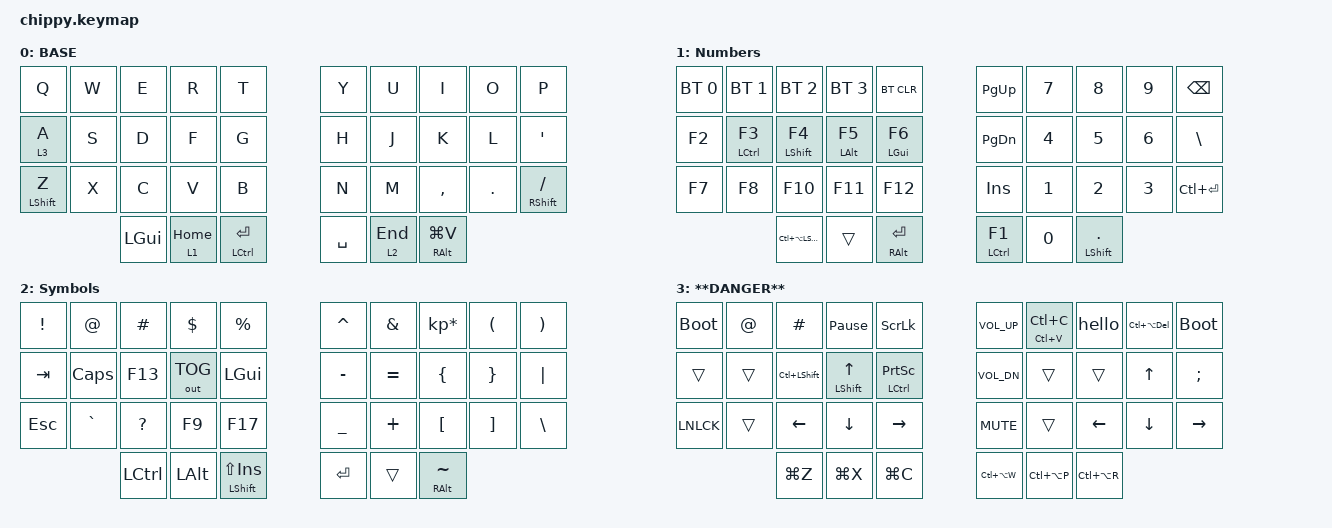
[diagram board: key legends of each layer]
/*
 * Copyright (c) 2020 The ZMK Contributors
 *
 * SPDX-License-Identifier: MIT
 */

#include <behaviors.dtsi>
#include <dt-bindings/zmk/keys.h>
#include <dt-bindings/zmk/bt.h>
#include <dt-bindings/zmk/outputs.h>

#define COMBO_TIMEOUT 60

#define DEFAULT 0
#define LOWER   1
#define RAISE   2
#define DANGER  3

/ {
    macros {
	hello: hello {
            label = "hello";
            compatible = "zmk,behavior-macro";
            #binding-cells = <0>;
            bindings
                = <&macro_tap_time 10>
		,<&macro_tap &kp H &kp E &kp L &kp L &kp O>
                ;
        };
    };
};


/ {
    combos {
        compatible = "zmk,combos";
 	 combo_del {
            timeout-ms = <COMBO_TIMEOUT>;
            key-positions = <11 12 13>;
            bindings = <&mt RALT DEL>;
        };
	 combo_cw {
            timeout-ms = <COMBO_TIMEOUT>;
            key-positions = <2 3 4>;
            bindings = <&caps_word>;
        };
	 combo_tab {
            timeout-ms = <COMBO_TIMEOUT>;
            key-positions = <10 11 12>;
            bindings = <&mt K_CONTEXT_MENU TAB>;
        };
	 combo_row {
            timeout-ms = <COMBO_TIMEOUT>;
            key-positions = <12 13 14>;
            bindings = <&kp LS(HOME)>;
        };
	 combo_esc {
            timeout-ms = <COMBO_TIMEOUT>;
            key-positions = <0 1 2>;
            bindings = <&kp ESC>;
	 };
	 combo_ctlbksp {
            timeout-ms = <COMBO_TIMEOUT>;
            key-positions = <6 7 8>;
            bindings = <&kp LC(BSPC)>;
        };
	 combo_bksp {
            timeout-ms = <COMBO_TIMEOUT>;
            key-positions = <16 17 18>;
            bindings = <&kp BSPC>;
        };
    };
};

&caps_word {
	continue-list = <UNDERSCORE MINUS BACKSPACE DELETE HOME END LEFT RIGHT>;
};

&kscan0 {
	debounce-period = <20>;
	};

/ {
	behaviors {

        bh: layer_taps 
		{
			compatible = "zmk,behavior-hold-tap";
			label = "Layer-Tap";
			#binding-cells = <2>;
			tapping_term_ms = <215>;
            flavor = "tap-preferred";
			bindings = <&mo>, <&kp>;
        };

        hm: homerow_mods {
            compatible = "zmk,behavior-hold-tap";
            label = "HOMEROW_MODS";
            #binding-cells = <2>;
            tapping-term-ms = <170>;
            quick_tap_ms = <0>;
            flavor = "tap-preferred";
            bindings = <&kp>, <&kp>;
        };
		sm: shift_mods {
            compatible = "zmk,behavior-hold-tap";
            label = "SHIFT_MODS";
            #binding-cells = <2>;
            tapping-term-ms = <170>;
            quick_tap_ms = <0>;
            flavor = "hold-preferred";
            bindings = <&kp>, <&kp>;
        };
     };
   };

/ {
        keymap {
                compatible = "zmk,keymap";

                default_layer {
// -----------------------------------------------------------------------------------------
// |  Q  |  W  |  E  |  R  |  T  |   |  Y  |  U   |  I  |  O  |  P  | 
// |  A  |  S  |  D  |  F  |  G  |   |  H  |  J   |  K  |  L  |  '  |
// |  Z  |  X  |  C  |  V  |  B  |   |  N  |  M   |  ,  |  .  |  /  | 
//             | GUI | LWR | ENT |   | SPC | RSE  | ALT |
                        bindings = <
   &kp Q &kp W &kp E &kp R &kp T   &kp Y &kp U  &kp I     &kp O   &kp P
   &bh 3 A &kp S &kp D &kp F &kp G   &kp H &kp J  &kp K &kp L   &kp SQT
   &mt LSHFT Z &kp X &kp C &kp V &kp B   &kp N &kp M  &kp COMMA &kp DOT &mt RSHFT FSLH
        &kp LGUI &bh 1 HOME &mt LCTRL RET   &kp SPACE &bh 2 END &mt RALT LG(V)
                        >;
		label = "BASE";
                };
                lower_layer {
// -----------------------------------------------------------------------------------------
// |  BT1 |     BT2    |     BT3    |    BT4    |  BT_CLR   |   |  PGUP  |  7   |    8   |  9  |  BSPC  | 
// |  F2  |  LCTRL F3  |  LSHFT F4  |  LALT F5  |  LGUI F6  |   |  PGDN  |  4   |    5   |  6  |    \   |
// |  F7  |     F8     |     F10    |    F11    |    F12    |   |  INS   |  1   |    2   |  3  |   ENT  | 
//                     |     SHFT   |           |   ALT ENT |   | CTRL F1|  0   | SHFT . |
                        bindings = <
   &bt BT_SEL 0 &bt BT_SEL 1 &bt BT_SEL 2 &bt BT_SEL 3 &bt BT_CLR     &kp PG_UP &kp N7 &kp N8 &kp N9 &kp BSPC
   &kp F2       &hm LCTRL F3  &hm LSHFT F4  &hm LALT F5  &hm LGUI F6         &kp PG_DN &kp N4 &kp N5 &kp N6 &kp BSLH
   &kp F7       &kp F8       &kp F10      &kp F11      &kp F12        &kp INS &kp N1 &kp N2 &kp N3  &kp LC(RET)
               	        &kp LC(LA(LSHFT)) &trans       &mt RALT RET      &mt LCTRL F1  &kp N0  &mt LSHFT DOT
                        >;
		label = "Numbers";
                };

                raise_layer {
// -----------------------------------------------------------------------------------------
// |   !   |   @    |   #   |   $   |     %     |   |  ^  |  &  |   *   |  (  |  )  | 
// |  TAB  |  CAPS  |  F13  |  TOG  |    LGUI   |   |  -  |  =  |   {   |  }  |  |  |
// |  ESC  |    `   |   ?   |   F9  |     F17   |   |  _  |  +  |   [   |  ]  |  \  | 
//                  |  CRTL |   ALT |  SHFT INS |   | ENT |     | ALT ~ |
                        bindings = <
   &kp EXCL &kp AT &kp HASH &kp DLLR &kp PRCNT             &kp CARET &kp AMPS  &kp KP_MULTIPLY &kp LPAR &kp RPAR 
   &kp TAB   &kp CAPS &kp F13   &out OUT_TOG &kp LGUI      &kp MINUS &kp EQUAL &kp LBRC &kp RBRC &kp PIPE 
   &kp ESC   &kp GRAVE &kp QMARK   &kp F9   &kp F17             &kp UNDER &kp PLUS  &kp LBKT &kp RBKT &kp BSLH 
        	     &kp LCTRL &kp LALT   &mt LSHFT LS(INS)   &kp RET   &trans    &mt RALT TILDE
                        >;
		label = "Symbols";
		};
		
		danger_layer {
// -----------------------------------------------------------------------------------------
// |   BL  |  @  |   #    |   PB   |   SLCK  |   |  Vol + |     | hello |  DEL  |   BL   | 
// |       |     |  SHFT  |   UP   |  PSCRN  |   |  Vol - |     |       |  up   |    ;   |
// | LNLCK |     |  left  |  down  |   right |   |  mute  |     |  left |  down |  right | 
//                |       |        |         |   |        |     |       |
                        bindings = <
   &bootloader  &kp AT &kp HASH &kp PAUSE_BREAK &kp SLCK              &kp C_VOL_UP &hm LC(V) LC(C)  &hello &kp LC(LA(DEL)) &bootloader 
   &trans   &trans &kp LC(LSHFT)  &mt LSHFT UP   &mt LCTRL PSCRN   &kp C_VOL_DN &trans &trans        &kp UP &kp SEMI 
   &kp LNLCK   &trans &kp LEFT &kp DOWN &kp RIGHT              &kp C_MUTE &trans  &kp LEFT        &kp DOWN &kp RIGHT 
        	     &kp LG(Z) &kp LG(X)   &kp LG(C)   &kp LC(LA(W))   &kp LC(LA(P))    &kp LC(LA(R))
                        >;
                label = "**DANGER**";
		};
        };
};
